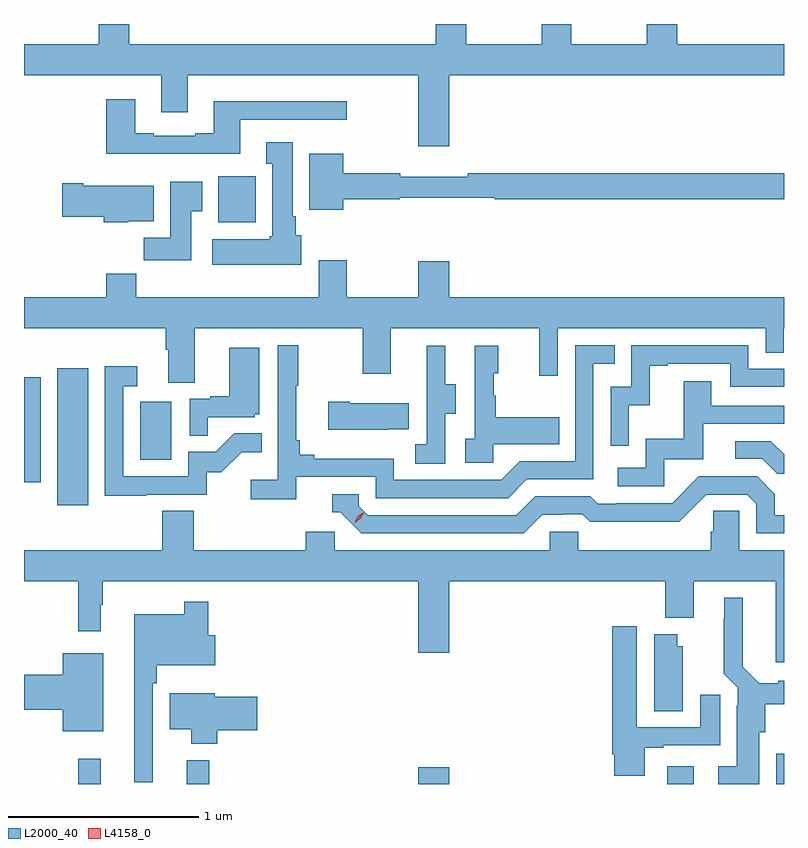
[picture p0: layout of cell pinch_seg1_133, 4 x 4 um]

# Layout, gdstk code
import gdstk
lib = gdstk.Library(unit=1e-6, precision=1e-09)
def R(c, l, rs):  # rectangles x0, y0, x1, y1
    for r in rs: c.add(gdstk.rectangle(r[:2], r[2:], *l))
def P(c, l, *ps):  # polygons
    for p in ps: c.add(gdstk.Polygon(p, *l))
L2000_40 = (2000, 40)
L4158_0 = (4158, 0)

pinch_seg1_133 = lib.new_cell('pinch_seg1_133')
R(pinch_seg1_133, L2000_40, [(1014.367,555.994,1014.485,556.126), (1014.938,555.994,1015.055,556.12), (1016.156,555.994,1016.32,556.081), (1017.467,555.994,1017.607,556.087), (1018.041,555.994,1018.081,556.153), (1014.257,557.46,1014.418,558.181), (1014.081,557.583,1014.168,558.134), (1014.692,557.7,1014.856,558.007), (1015.103,558.95,1015.3,559.192)])
P(pinch_seg1_133, L2000_40, [(1016.32,559.724),(1018.081,559.724),(1018.081,559.888),(1017.518,559.888),(1017.518,559.994),(1017.358,559.994),(1017.358,559.888),(1016.96,559.888),(1016.96,559.994),(1016.806,559.994),(1016.806,559.888),(1016.408,559.888),(1016.408,559.994),(1016.249,559.994),(1016.249,559.888),(1014.635,559.888),(1014.635,559.994),(1014.475,559.994),(1014.475,559.888),(1014.081,559.888),(1014.081,559.724),(1014.803,559.724),(1014.803,559.53),(1014.943,559.53),(1014.943,559.724),(1016.156,559.724),(1016.156,559.35),(1016.32,559.35)],
  [(1015.219,559.491),(1015.78,559.491),(1015.78,559.588),(1015.079,559.588),(1015.079,559.42),(1014.983,559.42),(1014.983,559.407),(1014.763,559.407),(1014.763,559.42),(1014.667,559.42),(1014.667,559.597),(1014.515,559.597),(1014.515,559.31),(1015.219,559.31)],
  [(1015.54,558.882),(1015.51,558.882),(1015.51,558.982),(1015.495,558.982),(1015.495,559.372),(1015.355,559.372),(1015.355,559.259),(1015.388,559.259),(1015.388,558.876),(1015.375,558.876),(1015.375,558.862),(1015.071,558.862),(1015.071,558.728),(1015.54,558.728)],
  [(1015.762,559.072),(1016.058,559.072),(1016.058,559.08),(1016.558,559.08),(1016.558,559.072),(1018.081,559.072),(1018.081,559.208),(1016.416,559.208),(1016.416,559.189),(1016.06,559.189),(1016.06,559.208),(1015.762,559.208),(1015.762,559.312),(1015.583,559.312),(1015.583,559.016),(1015.762,559.016)],
  [(1014.961,559.009),(1015.018,559.009),(1015.018,559.165),(1014.851,559.165),(1014.851,558.868),(1014.712,558.868),(1014.712,558.75),(1014.961,558.75)],
  [(1014.63,558.956),(1014.763,558.956),(1014.763,559.144),(1014.394,559.144),(1014.394,559.157),(1014.282,559.157),(1014.282,558.979),(1014.5,558.979),(1014.5,558.95),(1014.63,558.95)],
  [(1014.979,558.392),(1015.864,558.392),(1015.864,558.153),(1016.011,558.153),(1016.011,558.392),(1016.792,558.392),(1016.792,558.144),(1016.889,558.144),(1016.889,558.392),(1017.984,558.392),(1017.984,558.265),(1018.08,558.265),(1018.08,558.392),(1018.081,558.392),(1018.081,558.556),(1016.32,558.556),(1016.32,558.745),(1016.156,558.745),(1016.156,558.556),(1015.779,558.556),(1015.779,558.751),(1015.631,558.751),(1015.631,558.556),(1014.671,558.556),(1014.671,558.68),(1014.515,558.68),(1014.515,558.556),(1014.081,558.556),(1014.081,558.392),(1014.827,558.392),(1014.827,558.28),(1014.839,558.28),(1014.839,558.106),(1014.979,558.106)],
  [(1015.514,557.61),(1015.932,557.61),(1015.932,557.499),(1016.629,557.499),(1016.728,557.598),(1017.078,557.598),(1017.078,558.207),(1017.191,558.207),(1017.191,558.303),(1016.982,558.303),(1016.982,557.694),(1016.691,557.694),(1016.592,557.595),(1016.028,557.595),(1016.028,557.707),(1015.609,557.707),(1015.609,557.726),(1015.532,557.726),(1015.532,557.803),(1015.513,557.803),(1015.513,558.091),(1015.525,558.091),(1015.525,558.304),(1015.416,558.304),(1015.416,557.596),(1015.275,557.596),(1015.275,557.494),(1015.514,557.494)],
  [(1017.264,557.987),(1017.374,557.987),(1017.374,558.195),(1017.469,558.195),(1017.469,558.207),(1017.798,558.207),(1017.798,558.084),(1018.081,558.084),(1018.081,558.18),(1017.894,558.18),(1017.894,558.303),(1017.276,558.303),(1017.276,558.084),(1017.168,558.084),(1017.168,557.775),(1017.264,557.775)],
  [(1016.55,557.783),(1016.897,557.783),(1016.897,557.923),(1016.563,557.923),(1016.563,558.038),(1016.553,558.038),(1016.553,558.156),(1016.578,558.156),(1016.578,558.301),(1016.454,558.301),(1016.454,557.81),(1016.403,557.81),(1016.403,557.685),(1016.55,557.685)],
  [(1016.298,557.944),(1016.353,557.944),(1016.353,558.099),(1016.299,558.099),(1016.299,558.301),(1016.201,558.301),(1016.201,558.087),(1016.202,558.087),(1016.202,557.783),(1016.139,557.783),(1016.139,557.68),(1016.298,557.68)],
  [(1015.049,557.925),(1015.296,557.925),(1015.296,557.94),(1015.318,557.94),(1015.318,558.289),(1015.16,558.289),(1015.16,558.034),(1015.061,558.034),(1015.061,558.021),(1014.954,558.021),(1014.954,557.827),(1015.049,557.827)],
  [(1014.725,557.517),(1015.044,557.517),(1015.044,557.634),(1015.12,557.634),(1015.227,557.741),(1015.331,557.741),(1015.331,557.84),(1015.187,557.84),(1015.089,557.742),(1014.945,557.742),(1014.945,557.613),(1014.603,557.613),(1014.603,558.087),(1014.676,558.087),(1014.676,558.193),(1014.507,558.193),(1014.507,557.512),(1014.725,557.512)],
  [(1017.45,557.703),(1017.655,557.703),(1017.655,557.889),(1018.081,557.889),(1018.081,557.985),(1017.697,557.985),(1017.697,558.115),(1017.553,558.115),(1017.553,557.812),(1017.354,557.812),(1017.354,557.658),(1017.207,557.658),(1017.207,557.562),(1017.45,557.562)],
  [(1015.997,557.861),(1016.105,557.861),(1016.105,557.998),(1015.795,557.998),(1015.795,558.006),(1015.683,558.006),(1015.683,557.858),(1015.997,557.858)],
  [(1018.081,557.73),(1018.012,557.799),(1017.825,557.799),(1017.825,557.706),(1017.966,557.706),(1018.046,557.626),(1018.081,557.626)],
  [(1016.809,557.412),(1016.916,557.412),(1016.916,557.415),(1017.019,557.415),(1017.061,557.373),(1017.294,557.373),(1017.294,557.375),(1017.53,557.375),(1017.672,557.517),(1017.888,557.517),(1017.936,557.469),(1017.936,557.313),(1018.081,557.313),(1018.081,557.409),(1018.033,557.409),(1018.033,557.519),(1017.939,557.613),(1017.633,557.613),(1017.492,557.472),(1017.199,557.472),(1017.199,557.469),(1017.1,557.469),(1017.061,557.508),(1016.772,557.508),(1016.673,557.409),(1015.89,557.409),(1015.842,557.457),(1015.842,557.52),(1015.703,557.52),(1015.703,557.424),(1015.746,557.424),(1015.857,557.313),(1016.71,557.313)],
  [(1018.081,557.224),(1017.846,557.224),(1017.846,557.432),(1017.709,557.432),(1017.709,557.322),(1017.695,557.322),(1017.695,557.224),(1016.997,557.224),(1016.997,557.322),(1016.847,557.322),(1016.847,557.224),(1015.716,557.224),(1015.716,557.322),(1015.565,557.322),(1015.565,557.224),(1014.974,557.224),(1014.974,557.432),(1014.809,557.432),(1014.809,557.224),(1014.081,557.224),(1014.081,557.06),(1014.367,557.06),(1014.367,556.797),(1014.484,556.797),(1014.484,556.937),(1014.496,556.937),(1014.496,557.06),(1016.156,557.06),(1016.156,556.686),(1016.32,556.686),(1016.32,557.06),(1017.455,557.06),(1017.455,556.868),(1017.607,556.868),(1017.607,557.06),(1018.037,557.06),(1018.037,556.635),(1018.081,556.635)],
  [(1017.952,556.266),(1017.983,556.266),(1017.983,556.415),(1018.081,556.415),(1018.081,556.537),(1018.05,556.537),(1018.05,556.525),(1017.951,556.525),(1017.865,556.612),(1017.865,556.975),(1017.767,556.975),(1017.767,556.865),(1017.763,556.865),(1017.763,556.574),(1017.837,556.5),(1017.837,556.406),(1017.833,556.406),(1017.833,556.087),(1017.735,556.087),(1017.735,555.994),(1017.952,555.994)],
  [(1014.759,556.523),(1014.779,556.523),(1014.779,556.619),(1015.087,556.619),(1015.087,556.777),(1015.052,556.777),(1015.052,556.954),(1014.924,556.954),(1014.924,556.888),(1014.662,556.888),(1014.662,556.002),(1014.759,556.002)],
  [(1017.349,556.185),(1017.445,556.185),(1017.445,556.197),(1017.745,556.197),(1017.745,556.465),(1017.641,556.465),(1017.641,556.293),(1017.307,556.293),(1017.307,556.825),(1017.176,556.825),(1017.176,556.15),(1017.188,556.15),(1017.188,556.038),(1017.349,556.038)],
  [(1017.547,556.719),(1017.52,556.719),(1017.52,556.783),(1017.398,556.783),(1017.398,556.378),(1017.547,556.378)],
  [(1014.499,556.681),(1014.284,556.681),(1014.284,556.568),(1014.081,556.568),(1014.081,556.385),(1014.284,556.385),(1014.284,556.271),(1014.499,556.271)],
  [(1015.097,556.276),(1015.309,556.276),(1015.309,556.454),(1015.084,556.454),(1015.084,556.471),(1014.848,556.471),(1014.848,556.283),(1014.962,556.283),(1014.962,556.205),(1015.097,556.205)])
P(pinch_seg1_133, L4158_0, [(1015.821,557.368),(1015.821,557.369),(1015.837,557.402),(1015.867,557.422),(1015.868,557.422),(1015.868,557.422),(1015.852,557.389),(1015.822,557.368)])

lib.write_gds('pinch_seg1_133.gds')
